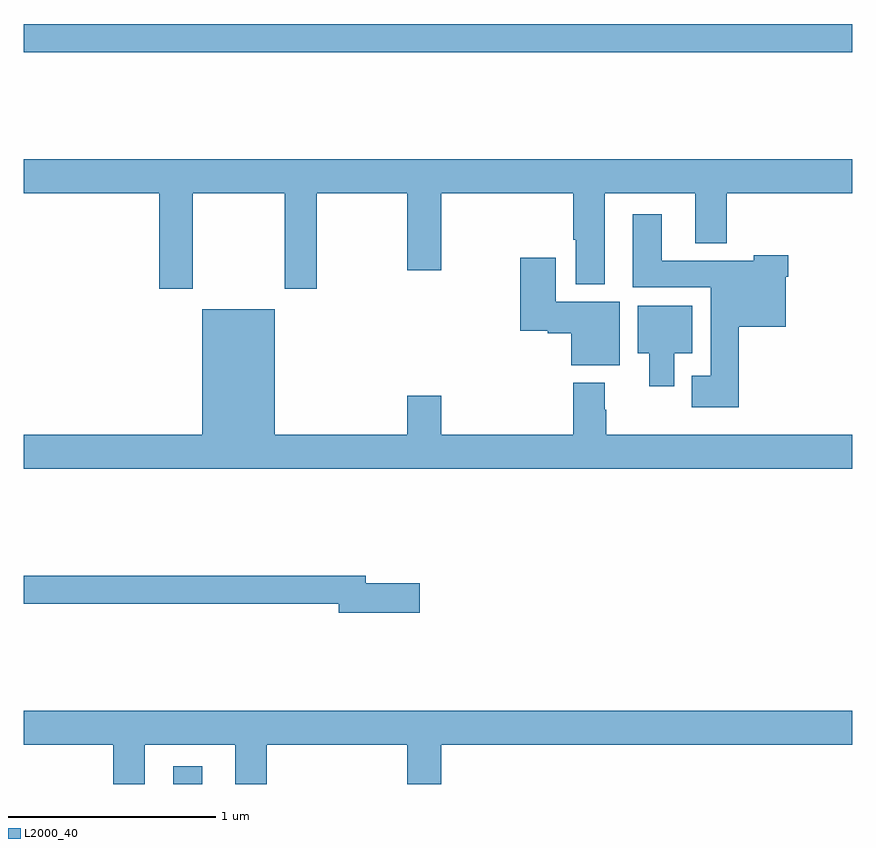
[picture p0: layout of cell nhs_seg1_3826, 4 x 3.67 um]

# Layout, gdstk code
import gdstk
lib = gdstk.Library(unit=1e-6, precision=1e-09)
def R(c, l, rs):  # rectangles x0, y0, x1, y1
    for r in rs: c.add(gdstk.rectangle(r[:2], r[2:], *l))
def P(c, l, *ps):  # polygons
    for p in ps: c.add(gdstk.Polygon(p, *l))
L2000_40 = (2000, 40)

nhs_seg1_3826 = lib.new_cell('nhs_seg1_3826')
R(nhs_seg1_3826, L2000_40, [(319.721,562.199,319.861,562.285), (319,565.732,323,565.868)])
P(nhs_seg1_3826, L2000_40, [(319.815,565.052),(320.26,565.052),(320.26,564.591),(320.415,564.591),(320.415,565.052),(320.852,565.052),(320.852,564.678),(321.016,564.678),(321.016,565.052),(321.653,565.052),(321.653,564.826),(321.665,564.826),(321.665,564.611),(321.805,564.611),(321.805,565.052),(322.241,565.052),(322.241,564.809),(322.394,564.809),(322.394,565.052),(323,565.052),(323,565.216),(319,565.216),(319,565.052),(319.655,565.052),(319.655,564.591),(319.815,564.591)],
  [(322.451,564.407),(322.678,564.407),(322.678,564.647),(322.691,564.647),(322.691,564.751),(322.524,564.751),(322.524,564.724),(322.081,564.724),(322.081,564.949),(321.941,564.949),(321.941,564.596),(322.316,564.596),(322.316,564.169),(322.226,564.169),(322.226,564.017),(322.451,564.017)],
  [(321.877,564.526),(321.568,564.526),(321.568,564.739),(321.398,564.739),(321.398,564.386),(321.531,564.386),(321.531,564.374),(321.644,564.374),(321.644,564.221),(321.877,564.221)],
  [(322.141,564.278),(322.228,564.278),(322.228,564.508),(321.965,564.508),(321.965,564.278),(322.019,564.278),(322.019,564.12),(322.141,564.12)],
  [(321.653,564.136),(321.653,563.884),(321.016,563.884),(321.016,564.073),(320.852,564.073),(320.852,563.884),(320.212,563.884),(320.212,564.49),(319.862,564.49),(319.862,563.884),(319,563.884),(319,563.72),(323,563.72),(323,563.884),(321.813,563.884),(321.813,564.005),(321.805,564.005),(321.805,564.136)],
  [(320.911,563.168),(320.65,563.168),(320.65,563.204),(319,563.204),(319,563.068),(320.522,563.068),(320.522,563.026),(320.911,563.026)],
  [(319.585,562.388),(320.021,562.388),(320.021,562.199),(320.174,562.199),(320.174,562.388),(320.852,562.388),(320.852,562.199),(321.016,562.199),(321.016,562.388),(323,562.388),(323,562.552),(319,562.552),(319,562.388),(319.433,562.388),(319.433,562.199),(319.585,562.199)])

lib.write_gds('nhs_seg1_3826.gds')
